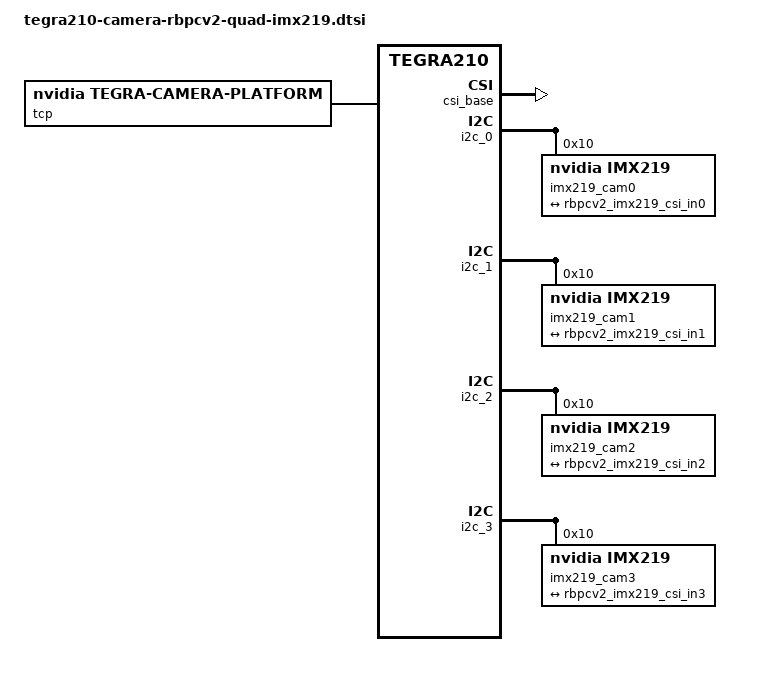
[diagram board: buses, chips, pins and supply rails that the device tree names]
/*
 * Copyright (c) 2018-2019, NVIDIA CORPORATION.  All rights reserved.
 *
 * This program is free software; you can redistribute it and/or modify
 * it under the terms of the GNU General Public License as published by
 * the Free Software Foundation; either version 2 of the License, or
 * (at your option) any later version.
 *
 * This program is distributed in the hope that it will be useful, but WITHOUT
 * ANY WARRANTY; without even the implied warranty of MERCHANTABILITY or
 * FITNESS FOR A PARTICULAR PURPOSE.  See the GNU General Public License for
 * more details.
 *
 * You should have received a copy of the GNU General Public License
 * along with this program.  If not, see <http://www.gnu.org/licenses/>.
 */

#include <dt-bindings/media/camera.h>
#include <dt-bindings/platform/t210/t210.h>

/ {
	host1x {
		vi_base: vi {
			num-channels = <4>;
			ports {
				status="okay";
				#address-cells = <1>;
				#size-cells = <0>;
				vi_port0: port@0 {
					status="okay";
					reg = <0>;
					rbpcv2_imx219_vi_in0: endpoint {
						status="okay";
						port-index = <0>;
						bus-width = <2>;
						remote-endpoint = <&rbpcv2_imx219_csi_out0>;
					};
				};
				vi_port1: port@1 {
					status="okay";
					reg = <1>;
					rbpcv2_imx219_vi_in1: endpoint {
						status="okay";
						port-index = <2>;
						bus-width = <2>;
						remote-endpoint = <&rbpcv2_imx219_csi_out1>;
					};
				};

				vi_port2: port@2 {
					status="okay";
					reg = <2>;
					rbpcv2_imx219_vi_in2: endpoint {
						status="okay";
						port-index = <4>;
						bus-width = <2>;
						remote-endpoint = <&rbpcv2_imx219_csi_out2>;
					};
				};
				vi_port3: port@3 {
					status="okay";
					reg = <3>;
					rbpcv2_imx219_vi_in3: endpoint {
						status="okay";
						port-index = <6>;
						bus-width = <2>;
						remote-endpoint = <&rbpcv2_imx219_csi_out3>;
					};
				};
			};
		};

		csi_base: nvcsi {
			num-channels = <4>;
			#address-cells = <1>;
			#size-cells = <0>;
			status="okay";
			csi_chan0: channel@0 {
				reg = <0>;
				status="okay";
				ports {
					#address-cells = <1>;
					#size-cells = <0>;
					status="okay";
					csi_chan0_port0: port@0 {
						status="okay";
						reg = <0>;
						rbpcv2_imx219_csi_in0: endpoint@0 {
							status="okay";
							port-index = <0>;
							bus-width = <2>;
							remote-endpoint = <&rbpcv2_imx219_out0>;
						};
					};
					csi_chan0_port1: port@1 {
						reg = <1>;
						status="okay";
						rbpcv2_imx219_csi_out0: endpoint@1 {
							status="okay";
							remote-endpoint = <&rbpcv2_imx219_vi_in0>;
						};
					};
				};
			};
			csi_chan1: channel@1 {
				reg = <1>;
				status="okay";
				ports {
					#address-cells = <1>;
					#size-cells = <0>;
					status="okay";
					csi_chan1_port0: port@2 {
						status="okay";
						reg = <0>;
						rbpcv2_imx219_csi_in1: endpoint@2 {
							status="okay";
							port-index = <2>;
							bus-width = <2>;
							remote-endpoint = <&rbpcv2_imx219_out1>;
						};
					};
					csi_chan1_port1: port@3 {
						status="okay";
						reg = <1>;
						rbpcv2_imx219_csi_out1: endpoint@3 {
							status="okay";
							remote-endpoint = <&rbpcv2_imx219_vi_in1>;
						};
					};
				};
			};

			csi_chan2: channel@2 {
				reg = <2>;
				status="okay";
				ports {
					#address-cells = <1>;
					#size-cells = <0>;
					status="okay";
					csi_chan2_port0: port@4 {
						status="okay";
						reg = <0>;
						rbpcv2_imx219_csi_in2: endpoint@4 {
							status="okay";
							port-index = <4>;
							bus-width = <2>;
							remote-endpoint = <&rbpcv2_imx219_out2>;
						};
					};
					csi_chan2_port1: port@5 {
						reg = <1>;
						status="okay";
						rbpcv2_imx219_csi_out2: endpoint@5 {
							status="okay";
							remote-endpoint = <&rbpcv2_imx219_vi_in2>;
						};
					};
				};
			};
			csi_chan3: channel@3 {
				reg = <3>;
				status="okay";
				ports {
					#address-cells = <1>;
					#size-cells = <0>;
					status="okay";
					csi_chan3_port0: port@6 {
						status="okay";
						reg = <0>;
						rbpcv2_imx219_csi_in3: endpoint@6 {
							status="okay";
							port-index = <6>;
							bus-width = <2>;
							remote-endpoint = <&rbpcv2_imx219_out3>;
						};
					};
					csi_chan3_port1: port@7 {
						status="okay";
						reg = <1>;
						rbpcv2_imx219_csi_out3: endpoint@7 {
							status="okay";
							remote-endpoint = <&rbpcv2_imx219_vi_in3>;
						};
					};
				};
			};
			
		};
	

		i2c_0: i2c@546c0000 {
			status="okay";
			imx219_cam0: rbpcv2_imx219_a@10 {
				status="okay";
				compatible = "nvidia,imx219";
				reg = <0x10>;

				devnode = "video0";

				physical_w = "3.680";
				physical_h = "2.760";

				sensor_model = "imx219";

				use_sensor_mode_id = "true";

				mode0 { 
					mclk_khz = "24000";
					num_lanes = "2";
					tegra_sinterface = "serial_a";
					phy_mode = "DPHY";
					discontinuous_clk = "yes";
					dpcm_enable = "false";
					cil_settletime = "0";

					active_w = "3264";
					active_h = "2464";
					pixel_t = "bayer_rggb";
					readout_orientation = "90";
					line_length = "3448";
					inherent_gain = "1";
					mclk_multiplier = "9.33";
					pix_clk_hz = "182400000";

					gain_factor = "16";
					framerate_factor = "1000000";
					exposure_factor = "1000000";
					min_gain_val = "16"; 
					max_gain_val = "170"; 
					step_gain_val = "1";
					default_gain = "16"; 
					min_hdr_ratio = "1";
					max_hdr_ratio = "1";
					min_framerate = "2000000"; 
					max_framerate = "21000000"; 
					step_framerate = "1";
					default_framerate = "21000000"; 
					min_exp_time = "13"; 
					max_exp_time = "683709"; 
					step_exp_time = "1";
					default_exp_time = "2495"; 

					embedded_metadata_height = "2";
				};
				mode1 { 
					mclk_khz = "24000";
					num_lanes = "2";
					tegra_sinterface = "serial_a";
					phy_mode = "DPHY";
					discontinuous_clk = "yes";
					dpcm_enable = "false";
					cil_settletime = "0";

					active_w = "3264";
					active_h = "1848";
					pixel_t = "bayer_rggb";
					readout_orientation = "90";
					line_length = "3448";
					inherent_gain = "1";
					mclk_multiplier = "9.33";
					pix_clk_hz = "182400000";

					gain_factor = "16";
					framerate_factor = "1000000";
					exposure_factor = "1000000";
					min_gain_val = "16"; 
					max_gain_val = "170"; 
					step_gain_val = "1";
					default_gain = "16"; 
					min_hdr_ratio = "1";
					max_hdr_ratio = "1";
					min_framerate = "2000000"; 
					max_framerate = "28000000"; 
					step_framerate = "1";
					default_framerate = "28000000"; 
					min_exp_time = "13"; 
					max_exp_time = "683709"; 
					step_exp_time = "1";
					default_exp_time = "2495"; 

					embedded_metadata_height = "2";
				};
				mode2 { 
					mclk_khz = "24000";
					num_lanes = "2";
					tegra_sinterface = "serial_a";
					phy_mode = "DPHY";
					discontinuous_clk = "yes";
					dpcm_enable = "false";
					cil_settletime = "0";

					active_w = "1920";
					active_h = "1080";
					pixel_t = "bayer_rggb";
					readout_orientation = "90";
					line_length = "3448";
					inherent_gain = "1";
					mclk_multiplier = "9.33";
					pix_clk_hz = "182400000";

					gain_factor = "16";
					framerate_factor = "1000000";
					exposure_factor = "1000000";
					min_gain_val = "16"; 
					max_gain_val = "170"; 
					step_gain_val = "1";
					default_gain = "16"; 
					min_hdr_ratio = "1";
					max_hdr_ratio = "1";
					min_framerate = "2000000"; 
					max_framerate = "30000000"; 
					step_framerate = "1";
					default_framerate = "30000000"; 
					min_exp_time = "13"; 
					max_exp_time = "683709"; 
					step_exp_time = "1";
					default_exp_time = "2495"; 

					embedded_metadata_height = "2";
				};
				mode3 { 
					mclk_khz = "24000";
					num_lanes = "2";
					tegra_sinterface = "serial_a";
					phy_mode = "DPHY";
					discontinuous_clk = "yes";
					dpcm_enable = "false";
					cil_settletime = "0";

					active_w = "1280";
					active_h = "720";
					pixel_t = "bayer_rggb";
					readout_orientation = "90";
					line_length = "3448";
					inherent_gain = "1";
					mclk_multiplier = "9.33";
					pix_clk_hz = "182400000";

					gain_factor = "16";
					framerate_factor = "1000000";
					exposure_factor = "1000000";
					min_gain_val = "16"; 
					max_gain_val = "170"; 
					step_gain_val = "1";
					default_gain = "16"; 
					min_hdr_ratio = "1";
					max_hdr_ratio = "1";
					min_framerate = "2000000"; 
					max_framerate = "60000000"; 
					step_framerate = "1";
					default_framerate = "60000000"; 
					min_exp_time = "13"; 
					max_exp_time = "683709"; 
					step_exp_time = "1";
					default_exp_time = "2495"; 

					embedded_metadata_height = "2";
				};
				mode4 { 
					mclk_khz = "24000";
					num_lanes = "2";
					tegra_sinterface = "serial_a";
					phy_mode = "DPHY";
					discontinuous_clk = "yes";
					dpcm_enable = "false";
					cil_settletime = "0";

					active_w = "1280";
					active_h = "720";
					pixel_t = "bayer_rggb";
					readout_orientation = "90";
					line_length = "3448";
					inherent_gain = "1";
					mclk_multiplier = "9.33";
					pix_clk_hz = "169600000";

					gain_factor = "16";
					framerate_factor = "1000000";
					exposure_factor = "1000000";
					min_gain_val = "16"; 
					max_gain_val = "170"; 
					step_gain_val = "1";
					default_gain = "16"; 
					min_hdr_ratio = "1";
					max_hdr_ratio = "1";
					min_framerate = "2000000"; 
					max_framerate = "120000000"; 
					step_framerate = "1";
					default_framerate = "120000000"; 
					min_exp_time = "13"; 
					max_exp_time = "683709"; 
					step_exp_time = "1";
					default_exp_time = "2495"; 

					embedded_metadata_height = "2";
				};

				ports {
					#address-cells = <1>;
					#size-cells = <0>;
					status="okay";

					port@0 {
						reg = <0>;
						status="okay";
						rbpcv2_imx219_out0: endpoint {
							status="okay";
							port-index = <0>;
							bus-width = <2>;
							remote-endpoint = <&rbpcv2_imx219_csi_in0>;
						};
					};
				};
			};
		};
		i2c_1: i2c@7000c000 {
			imx219_cam1: rbpcv2_imx219_c@10 {
				status="okay";
				compatible = "nvidia,imx219"; 
				reg = <0x10>;

				devnode = "video1";

				physical_w = "3.680";
				physical_h = "2.760";

				sensor_model = "imx219";

				use_sensor_mode_id = "true";

				mode0 { 
					mclk_khz = "24000";
					num_lanes = "2";
					tegra_sinterface = "serial_c";
					phy_mode = "DPHY";
					discontinuous_clk = "yes";
					dpcm_enable = "false";
					cil_settletime = "0";

					active_w = "3264";
					active_h = "2464";
					pixel_t = "bayer_rggb";
					readout_orientation = "90";
					line_length = "3448";
					inherent_gain = "1";
					mclk_multiplier = "9.33";
					pix_clk_hz = "182400000";

					gain_factor = "16";
					framerate_factor = "1000000";
					exposure_factor = "1000000";
					min_gain_val = "16"; 
					max_gain_val = "170"; 
					step_gain_val = "1";
					default_gain = "16"; 
					min_hdr_ratio = "1";
					max_hdr_ratio = "1";
					min_framerate = "2000000"; 
					max_framerate = "21000000"; 
					step_framerate = "1";
					default_framerate = "21000000"; 
					min_exp_time = "13";
					max_exp_time = "683709"; 
					step_exp_time = "1";
					default_exp_time = "2495"; 

					embedded_metadata_height = "2";
				};
				mode1 { 
					mclk_khz = "24000";
					num_lanes = "2";
					tegra_sinterface = "serial_c";
					phy_mode = "DPHY";
					discontinuous_clk = "yes";
					dpcm_enable = "false";
					cil_settletime = "0";

					active_w = "3264";
					active_h = "1848";
					pixel_t = "bayer_rggb";
					readout_orientation = "90";
					line_length = "3448";
					inherent_gain = "1";
					mclk_multiplier = "9.33";
					pix_clk_hz = "182400000";

					gain_factor = "16";
					framerate_factor = "1000000";
					exposure_factor = "1000000";
					min_gain_val = "16"; 
					max_gain_val = "170"; 
					step_gain_val = "1";
					default_gain = "16"; 
					min_hdr_ratio = "1";
					max_hdr_ratio = "1";
					min_framerate = "2000000"; 
					max_framerate = "28000000"; 
					step_framerate = "1";
					default_framerate = "28000000"; 
					min_exp_time = "13"; 
					max_exp_time = "683709";
					step_exp_time = "1";
					default_exp_time = "2495"; 

					embedded_metadata_height = "2";
				};
				mode2 { 
					mclk_khz = "24000";
					num_lanes = "2";
					tegra_sinterface = "serial_c";
					phy_mode = "DPHY";
					discontinuous_clk = "yes";
					dpcm_enable = "false";
					cil_settletime = "0";

					active_w = "1920";
					active_h = "1080";
					pixel_t = "bayer_rggb";
					readout_orientation = "90";
					line_length = "3448";
					inherent_gain = "1";
					mclk_multiplier = "9.33";
					pix_clk_hz = "182400000";

					gain_factor = "16";
					framerate_factor = "1000000";
					exposure_factor = "1000000";
					min_gain_val = "16"; 
					max_gain_val = "170"; 
					step_gain_val = "1";
					default_gain = "16"; 
					min_hdr_ratio = "1";
					max_hdr_ratio = "1";
					min_framerate = "2000000";
					max_framerate = "30000000"; 
					step_framerate = "1";
					default_framerate = "30000000"; 
					min_exp_time = "13"; 
					max_exp_time = "683709";
					step_exp_time = "1";
					default_exp_time = "2495";

					embedded_metadata_height = "2";
				};
				mode3 { 
					mclk_khz = "24000";
					num_lanes = "2";
					tegra_sinterface = "serial_c";
					phy_mode = "DPHY";
					discontinuous_clk = "yes";
					dpcm_enable = "false";
					cil_settletime = "0";

					active_w = "1280";
					active_h = "720";
					pixel_t = "bayer_rggb";
					readout_orientation = "90";
					line_length = "3448";
					inherent_gain = "1";
					mclk_multiplier = "9.33";
					pix_clk_hz = "182400000";

					gain_factor = "16";
					framerate_factor = "1000000";
					exposure_factor = "1000000";
					min_gain_val = "16";
					max_gain_val = "170"; 
					step_gain_val = "1";
					default_gain = "16"; 
					min_hdr_ratio = "1";
					max_hdr_ratio = "1";
					min_framerate = "2000000"; 
					max_framerate = "60000000"; 
					step_framerate = "1";
					default_framerate = "60000000"; 
					min_exp_time = "13"; 
					max_exp_time = "683709"; 
					step_exp_time = "1";
					default_exp_time = "2495"; 

					embedded_metadata_height = "2";
				};
				mode4 { 
					mclk_khz = "24000";
					num_lanes = "2";
					tegra_sinterface = "serial_c";
					phy_mode = "DPHY";
					discontinuous_clk = "yes";
					dpcm_enable = "false";
					cil_settletime = "0";

					active_w = "1280";
					active_h = "720";
					pixel_t = "bayer_rggb";
					readout_orientation = "90";
					line_length = "3448";
					inherent_gain = "1";
					mclk_multiplier = "9.33";
					pix_clk_hz = "169600000";

					gain_factor = "16";
					framerate_factor = "1000000";
					exposure_factor = "1000000";
					min_gain_val = "16"; 
					max_gain_val = "170"; 
					step_gain_val = "1";
					default_gain = "16"; 
					min_hdr_ratio = "1";
					max_hdr_ratio = "1";
					min_framerate = "2000000"; 
					max_framerate = "120000000";
					step_framerate = "1";
					default_framerate = "120000000"; 
					min_exp_time = "13"; 
					max_exp_time = "683709"; 
					step_exp_time = "1";
					default_exp_time = "2495";

					embedded_metadata_height = "2";
				};

				ports {
					#address-cells = <1>;
					#size-cells = <0>;
					status="okay";
					port@0 {
						reg = <0>;
						status="okay";
						rbpcv2_imx219_out1: endpoint {
							status="okay";
							port-index = <2>;
							bus-width = <2>;
							remote-endpoint = <&rbpcv2_imx219_csi_in1>;
						};
					};
				};
			};
		};
	};

	i2c_2: i2c@7000c400 {
		imx219_cam2: rbpcv2_imx219_e@10 {
			status="okay";
			compatible = "nvidia,imx219"; 
			reg = <0x10>;

			devnode = "video2";

			physical_w = "3.680";
			physical_h = "2.760";

			sensor_model = "imx219";

			use_sensor_mode_id = "true";

			mode0 { 
				mclk_khz = "24000";
				num_lanes = "2";
				tegra_sinterface = "serial_e";
				phy_mode = "DPHY";
				discontinuous_clk = "yes";
				dpcm_enable = "false";
				cil_settletime = "0";

				active_w = "3264";
				active_h = "2464";
				pixel_t = "bayer_rggb";
				readout_orientation = "90";
				line_length = "3448";
				inherent_gain = "1";
				mclk_multiplier = "9.33";
				pix_clk_hz = "182400000";

				gain_factor = "16";
				framerate_factor = "1000000";
				exposure_factor = "1000000";
				min_gain_val = "16"; 
				max_gain_val = "170"; 
				step_gain_val = "1";
				default_gain = "16"; 
				min_hdr_ratio = "1";
				max_hdr_ratio = "1";
				min_framerate = "2000000"; 
				max_framerate = "21000000"; 
				step_framerate = "1";
				default_framerate = "21000000"; 
				min_exp_time = "13";
				max_exp_time = "683709"; 
				step_exp_time = "1";
				default_exp_time = "2495"; 

				embedded_metadata_height = "2";
			};
			mode1 { 
				mclk_khz = "24000";
				num_lanes = "2";
				tegra_sinterface = "serial_e";
				phy_mode = "DPHY";
				discontinuous_clk = "yes";
				dpcm_enable = "false";
				cil_settletime = "0";

				active_w = "3264";
				active_h = "1848";
				pixel_t = "bayer_rggb";
				readout_orientation = "90";
				line_length = "3448";
				inherent_gain = "1";
				mclk_multiplier = "9.33";
				pix_clk_hz = "182400000";

				gain_factor = "16";
				framerate_factor = "1000000";
				exposure_factor = "1000000";
				min_gain_val = "16"; 
				max_gain_val = "170"; 
				step_gain_val = "1";
				default_gain = "16"; 
				min_hdr_ratio = "1";
				max_hdr_ratio = "1";
				min_framerate = "2000000"; 
				max_framerate = "28000000"; 
				step_framerate = "1";
				default_framerate = "28000000"; 
				min_exp_time = "13"; 
				max_exp_time = "683709";
				step_exp_time = "1";
				default_exp_time = "2495"; 

				embedded_metadata_height = "2";
			};
			mode2 { 
				mclk_khz = "24000";
				num_lanes = "2";
				tegra_sinterface = "serial_e";
				phy_mode = "DPHY";
				discontinuous_clk = "yes";
				dpcm_enable = "false";
				cil_settletime = "0";

				active_w = "1920";
				active_h = "1080";
				pixel_t = "bayer_rggb";
				readout_orientation = "90";
				line_length = "3448";
				inherent_gain = "1";
				mclk_multiplier = "9.33";
				pix_clk_hz = "182400000";

				gain_factor = "16";
				framerate_factor = "1000000";
				exposure_factor = "1000000";
				min_gain_val = "16"; 
				max_gain_val = "170"; 
				step_gain_val = "1";
				default_gain = "16"; 
				min_hdr_ratio = "1";
				max_hdr_ratio = "1";
				min_framerate = "2000000";
				max_framerate = "30000000"; 
				step_framerate = "1";
				default_framerate = "30000000"; 
				min_exp_time = "13"; 
				max_exp_time = "683709";
				step_exp_time = "1";
				default_exp_time = "2495";

				embedded_metadata_height = "2";
			};
			mode3 { 
				mclk_khz = "24000";
				num_lanes = "2";
				tegra_sinterface = "serial_e";
				phy_mode = "DPHY";
				discontinuous_clk = "yes";
				dpcm_enable = "false";
				cil_settletime = "0";

				active_w = "1280";
				active_h = "720";
				pixel_t = "bayer_rggb";
				readout_orientation = "90";
				line_length = "3448";
				inherent_gain = "1";
				mclk_multiplier = "9.33";
				pix_clk_hz = "182400000";

				gain_factor = "16";
				framerate_factor = "1000000";
				exposure_factor = "1000000";
				min_gain_val = "16";
				max_gain_val = "170"; 
				step_gain_val = "1";
				default_gain = "16"; 
				min_hdr_ratio = "1";
				max_hdr_ratio = "1";
				min_framerate = "2000000"; 
				max_framerate = "60000000"; 
				step_framerate = "1";
				default_framerate = "60000000"; 
				min_exp_time = "13"; 
				max_exp_time = "683709"; 
				step_exp_time = "1";
				default_exp_time = "2495"; 

				embedded_metadata_height = "2";
			};
			mode4 { 
				mclk_khz = "24000";
				num_lanes = "2";
				tegra_sinterface = "serial_e";
				phy_mode = "DPHY";
				discontinuous_clk = "yes";
				dpcm_enable = "false";
				cil_settletime = "0";

				active_w = "1280";
				active_h = "720";
				pixel_t = "bayer_rggb";
				readout_orientation = "90";
				line_length = "3448";
				inherent_gain = "1";
				mclk_multiplier = "9.33";
				pix_clk_hz = "169600000";

				gain_factor = "16";
				framerate_factor = "1000000";
				exposure_factor = "1000000";
				min_gain_val = "16"; 
				max_gain_val = "170"; 
				step_gain_val = "1";
				default_gain = "16"; 
				min_hdr_ratio = "1";
				max_hdr_ratio = "1";
				min_framerate = "2000000"; 
				max_framerate = "120000000";
				step_framerate = "1";
				default_framerate = "120000000"; 
				min_exp_time = "13"; 
				max_exp_time = "683709"; 
				step_exp_time = "1";
				default_exp_time = "2495";

				embedded_metadata_height = "2";
			};

			ports {
				#address-cells = <1>;
				#size-cells = <0>;
				status="okay";
				port@0 {
					reg = <0>;
					status="okay";
					rbpcv2_imx219_out2: endpoint {
						status="okay";
						port-index = <4>;
						bus-width = <2>;
						remote-endpoint = <&rbpcv2_imx219_csi_in2>;
					};
				};
			};
		};
	};

	i2c_3: i2c@7000c500 {
		imx219_cam3: rbpcv2_imx219_f@10 {
			status="okay";
			compatible = "nvidia,imx219"; 
			reg = <0x10>;

			devnode = "video3";

			physical_w = "3.680";
			physical_h = "2.760";

			sensor_model = "imx219";

			use_sensor_mode_id = "true";

			mode0 { 
				mclk_khz = "24000";
				num_lanes = "2";
				tegra_sinterface = "serial_f";
				phy_mode = "DPHY";
				discontinuous_clk = "yes";
				dpcm_enable = "false";
				cil_settletime = "0";

				active_w = "3264";
				active_h = "2464";
				pixel_t = "bayer_rggb";
				readout_orientation = "90";
				line_length = "3448";
				inherent_gain = "1";
				mclk_multiplier = "9.33";
				pix_clk_hz = "182400000";

				gain_factor = "16";
				framerate_factor = "1000000";
				exposure_factor = "1000000";
				min_gain_val = "16"; 
				max_gain_val = "170"; 
				step_gain_val = "1";
				default_gain = "16"; 
				min_hdr_ratio = "1";
				max_hdr_ratio = "1";
				min_framerate = "2000000"; 
				max_framerate = "21000000"; 
				step_framerate = "1";
				default_framerate = "21000000"; 
				min_exp_time = "13";
				max_exp_time = "683709"; 
				step_exp_time = "1";
				default_exp_time = "2495"; 

				embedded_metadata_height = "2";
			};
			mode1 { 
				mclk_khz = "24000";
				num_lanes = "2";
				tegra_sinterface = "serial_f";
				phy_mode = "DPHY";
				discontinuous_clk = "yes";
				dpcm_enable = "false";
				cil_settletime = "0";

				active_w = "3264";
				active_h = "1848";
				pixel_t = "bayer_rggb";
				readout_orientation = "90";
				line_length = "3448";
				inherent_gain = "1";
				mclk_multiplier = "9.33";
				pix_clk_hz = "182400000";

				gain_factor = "16";
				framerate_factor = "1000000";
				exposure_factor = "1000000";
				min_gain_val = "16"; 
				max_gain_val = "170"; 
				step_gain_val = "1";
				default_gain = "16"; 
				min_hdr_ratio = "1";
				max_hdr_ratio = "1";
				min_framerate = "2000000"; 
				max_framerate = "28000000"; 
				step_framerate = "1";
				default_framerate = "28000000"; 
				min_exp_time = "13"; 
				max_exp_time = "683709";
				step_exp_time = "1";
				default_exp_time = "2495"; 

				embedded_metadata_height = "2";
			};
			mode2 { 
				mclk_khz = "24000";
				num_lanes = "2";
				tegra_sinterface = "serial_f";
				phy_mode = "DPHY";
				discontinuous_clk = "yes";
				dpcm_enable = "false";
				cil_settletime = "0";

				active_w = "1920";
				active_h = "1080";
				pixel_t = "bayer_rggb";
				readout_orientation = "90";
				line_length = "3448";
				inherent_gain = "1";
				mclk_multiplier = "9.33";
				pix_clk_hz = "182400000";

				gain_factor = "16";
				framerate_factor = "1000000";
				exposure_factor = "1000000";
				min_gain_val = "16"; 
				max_gain_val = "170"; 
				step_gain_val = "1";
				default_gain = "16"; 
				min_hdr_ratio = "1";
				max_hdr_ratio = "1";
				min_framerate = "2000000";
				max_framerate = "30000000"; 
				step_framerate = "1";
				default_framerate = "30000000"; 
				min_exp_time = "13"; 
				max_exp_time = "683709";
				step_exp_time = "1";
				default_exp_time = "2495";

				embedded_metadata_height = "2";
			};
			mode3 { 
				mclk_khz = "24000";
				num_lanes = "2";
				tegra_sinterface = "serial_f";
				phy_mode = "DPHY";
				discontinuous_clk = "yes";
				dpcm_enable = "false";
				cil_settletime = "0";

				active_w = "1280";
				active_h = "720";
				pixel_t = "bayer_rggb";
				readout_orientation = "90";
				line_length = "3448";
				inherent_gain = "1";
				mclk_multiplier = "9.33";
				pix_clk_hz = "182400000";

				gain_factor = "16";
				framerate_factor = "1000000";
				exposure_factor = "1000000";
				min_gain_val = "16";
				max_gain_val = "170"; 
				step_gain_val = "1";
				default_gain = "16"; 
				min_hdr_ratio = "1";
				max_hdr_ratio = "1";
				min_framerate = "2000000"; 
				max_framerate = "60000000"; 
				step_framerate = "1";
				default_framerate = "60000000"; 
				min_exp_time = "13"; 
				max_exp_time = "683709"; 
				step_exp_time = "1";
				default_exp_time = "2495"; 

				embedded_metadata_height = "2";
			};
			mode4 { 
				mclk_khz = "24000";
				num_lanes = "2";
				tegra_sinterface = "serial_f";
				phy_mode = "DPHY";
				discontinuous_clk = "yes";
				dpcm_enable = "false";
				cil_settletime = "0";

				active_w = "1280";
				active_h = "720";
				pixel_t = "bayer_rggb";
				readout_orientation = "90";
				line_length = "3448";
				inherent_gain = "1";
				mclk_multiplier = "9.33";
				pix_clk_hz = "169600000";

				gain_factor = "16";
				framerate_factor = "1000000";
				exposure_factor = "1000000";
				min_gain_val = "16"; 
				max_gain_val = "170"; 
				step_gain_val = "1";
				default_gain = "16"; 
				min_hdr_ratio = "1";
				max_hdr_ratio = "1";
				min_framerate = "2000000"; 
				max_framerate = "120000000";
				step_framerate = "1";
				default_framerate = "120000000"; 
				min_exp_time = "13"; 
				max_exp_time = "683709"; 
				step_exp_time = "1";
				default_exp_time = "2495";

				embedded_metadata_height = "2";
			};

			ports {
				#address-cells = <1>;
				#size-cells = <0>;
				status="okay";
				port@0 {
					reg = <0>;
					status="okay";
					rbpcv2_imx219_out3: endpoint {
						status="okay";
						port-index = <6>;
						bus-width = <2>;
						remote-endpoint = <&rbpcv2_imx219_csi_in3>;
					};
				};
			};
		};
	};

	lens_imx219@RBPCV2 {
		status="okay";
		min_focus_distance = "0.0";
		hyper_focal = "0.0";
		focal_length = "3.04";
		f_number = "2.0";
		aperture = "0.0";
	};
};

/ {
	tcp: tegra-camera-platform {
		compatible = "nvidia, tegra-camera-platform";

		/**
		* Physical settings to calculate max ISO BW
		*
		* num_csi_lanes = <>;
		* Total number of CSI lanes when all cameras are active
		*
		* max_lane_speed = <>;
		* Max lane speed in Kbit/s
		*
		* min_bits_per_pixel = <>;
		* Min bits per pixel
		*
		* vi_peak_byte_per_pixel = <>;
		* Max byte per pixel for the VI ISO case
		*
		* vi_bw_margin_pct = <>;
		* Vi bandwidth margin in percentage
		*
		* max_pixel_rate = <>;
		* Max pixel rate in Kpixel/s for the ISP ISO case
		*
		* isp_peak_byte_per_pixel = <>;
		* Max byte per pixel for the ISP ISO case
		*
		* isp_bw_margin_pct = <>;
		* Isp bandwidth margin in percentage
		*/
		num_csi_lanes = <6>;
		max_lane_speed = <1500000>;
		min_bits_per_pixel = <10>;
		vi_peak_byte_per_pixel = <2>;
		vi_bw_margin_pct = <25>;
		max_pixel_rate = <240000>;
		isp_peak_byte_per_pixel = <5>;
		isp_bw_margin_pct = <25>;

		/**
		 * The general guideline for naming badge_info contains 3 parts, and is as follows,
		 * The first part is the camera_board_id for the module; if the module is in a FFD
		 * platform, then use the platform name for this part.
		 * The second part contains the position of the module, ex. "rear" or "front".
		 * The third part contains the last 6 characters of a part number which is found
		 * in the module's specsheet from the vendor.
		 */
		modules {
			status="okay";
			cam_module0: module0 {
				badge = "porg_topleft_RBPCV2";
				position = "topleft";
				orientation = "1";
				status = "okay";
				cam_module0_drivernode0: drivernode0 {
					status = "okay";
					pcl_id = "v4l2_sensor";
					devname = "imx219 6-0010";
					proc-device-tree = "/proc/device-tree/host1x/i2c@546c0000/rbpcv2_imx219_a@10";		//changed(fd)
				};
				cam_module0_drivernode1: drivernode1 {
					status="okay";
					pcl_id = "v4l2_lens";
					proc-device-tree = "/proc/device-tree/lens_imx219@RBPCV2/";
				};
			};

			cam_module1: module1 {
				badge = "porg_topright_RBPCV2";
				position = "topright";
				orientation = "1";
				status="okay";
				cam_module1_drivernode0: drivernode0 {
					status="okay";
					pcl_id = "v4l2_sensor";
					devname = "imx219 0-0010";
					proc-device-tree = "/proc/device-tree/host1x/i2c@7000c000/rbpcv2_imx219_c@10";		//changed(fd)
				};
				cam_module1_drivernode1: drivernode1 {
					status="okay";
					pcl_id = "v4l2_lens";
					proc-device-tree = "/proc/device-tree/lens_imx219@RBPCV2/";
				};
			};

			cam_module2: module2 {
				badge = "porg_bottomleft_RBPCV2";
				position = "bottomleft";
				orientation = "1";
				status="okay";
				cam_module2_drivernode0: drivernode0 {
					status="okay";
					pcl_id = "v4l2_sensor";
					devname = "imx219 1-0010";
					proc-device-tree = "/proc/device-tree/i2c@7000c400/rbpcv2_imx219_e@10";		//added(fd)
				};
				cam_module2_drivernode1: drivernode1 {
					status="okay";
					pcl_id = "v4l2_lens";
					proc-device-tree = "/proc/device-tree/lens_imx219@RBPCV2/";
				};
			};

			cam_module3: module3 {
				badge = "porg_bottomright_RBPCV2";
				position = "bottomright";
				orientation = "1";
				status="okay";
				cam_module3_drivernode0: drivernode0 {
					status="okay";
					pcl_id = "v4l2_sensor";
					devname = "imx219 2-0010";
					proc-device-tree = "/proc/device-tree/i2c@7000c500/rbpcv2_imx219_f@10";		//added(fd)
				};
				cam_module3_drivernode1: drivernode1 {
					status="okay";
					pcl_id = "v4l2_lens";
					proc-device-tree = "/proc/device-tree/lens_imx219@RBPCV2/";
				};
			};
		};
	};
};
